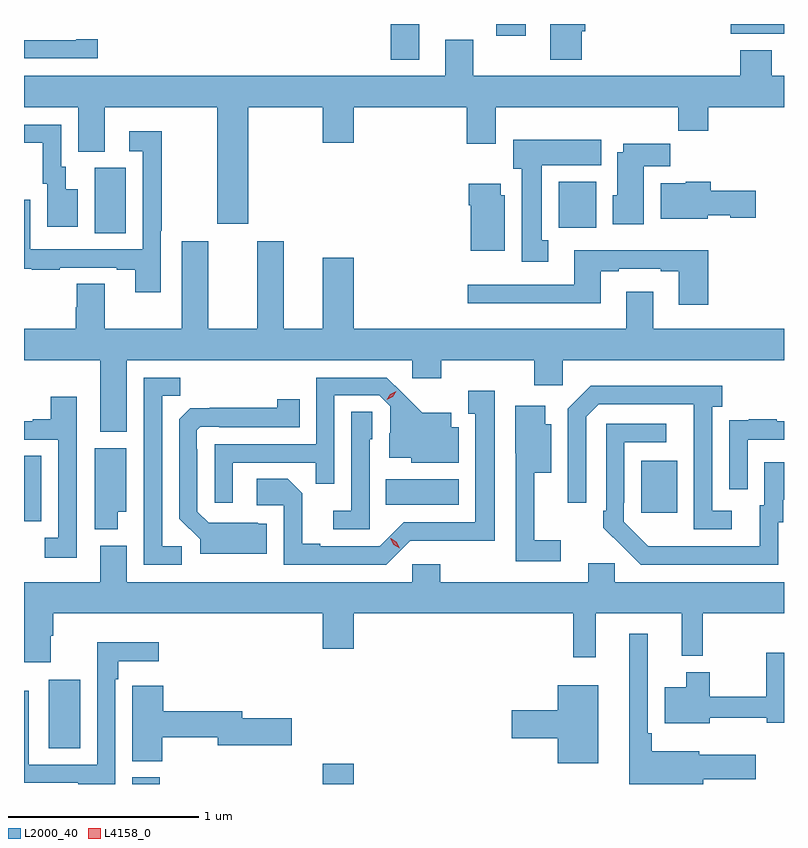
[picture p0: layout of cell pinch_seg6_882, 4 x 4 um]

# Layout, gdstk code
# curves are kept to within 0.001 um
import gdstk
lib = gdstk.Library(unit=1e-6, precision=1e-09)
def R(c, l, rs):  # rectangles x0, y0, x1, y1
    for r in rs: c.add(gdstk.rectangle(r[:2], r[2:], *l))
def P(c, l, *ps):  # polygons
    for p in ps: c.add(gdstk.Polygon(p, *l))
L2000_40 = (2000, 40)
L4158_0 = (4158, 0)

pinch_seg6_882 = lib.new_cell('pinch_seg6_882')
R(pinch_seg6_882, L2000_40, [(331.838,922.461,331.982,922.497), (332.84,922.461,333.004,922.567), (331.397,922.648,331.564,923.011), (331.268,923.845,331.36,924.188), (334.517,923.889,334.705,924.163), (333.172,923.93,333.556,924.064), (331.64,925.36,331.804,925.704), (334.082,925.388,334.279,925.63), (333.197,926.274,333.349,926.461), (333.754,926.4,333.91,926.461), (334.987,926.409,335.268,926.461)])
P(pinch_seg6_882, L2000_40, [(334.204,926.424),(334.222,926.424),(334.222,926.461),(334.037,926.461),(334.037,926.274),(334.204,926.274)],
  [(331.657,926.381),(331.544,926.381),(331.544,926.376),(331.268,926.376),(331.268,926.28),(331.657,926.28)],
  [(332.449,926.024),(332.84,926.024),(332.84,925.836),(333.004,925.836),(333.004,926.024),(333.599,926.024),(333.599,925.83),(333.751,925.83),(333.751,926.024),(334.711,926.024),(334.711,925.9),(334.868,925.9),(334.868,926.024),(335.268,926.024),(335.268,926.188),(335.204,926.188),(335.204,926.324),(335.039,926.324),(335.039,926.188),(333.633,926.188),(333.633,926.378),(333.485,926.378),(333.485,926.188),(331.268,926.188),(331.268,926.024),(331.553,926.024),(331.553,925.789),(331.693,925.789),(331.693,926.024),(332.285,926.024),(332.285,925.41),(332.449,925.41)],
  [(331.552,925.591),(331.489,925.591),(331.489,925.71),(331.464,925.71),(331.464,925.932),(331.268,925.932),(331.268,925.836),(331.367,925.836),(331.367,925.62),(331.391,925.62),(331.391,925.395),(331.552,925.395)],
  [(331.989,925.372),(331.994,925.372),(331.994,925.897),(331.821,925.897),(331.821,925.791),(331.893,925.791),(331.893,925.275),(331.302,925.275),(331.302,925.537),(331.268,925.537),(331.268,925.173),(331.309,925.173),(331.309,925.167),(331.457,925.167),(331.457,925.179),(331.757,925.179),(331.757,925.167),(331.853,925.167),(331.853,925.05),(331.989,925.05)],
  [(334.027,925.322),(333.994,925.322),(333.994,925.718),(334.306,925.718),(334.306,925.852),(333.842,925.852),(333.842,925.698),(333.887,925.698),(333.887,925.209),(334.027,925.209)],
  [(334.531,925.712),(334.67,925.712),(334.67,925.831),(334.421,925.831),(334.421,925.786),(334.391,925.786),(334.391,925.56),(334.367,925.56),(334.367,925.406),(334.531,925.406)],
  [(334.866,925.454),(334.986,925.454),(334.986,925.442),(335.119,925.442),(335.119,925.584),(334.883,925.584),(334.883,925.63),(334.752,925.63),(334.752,925.624),(334.619,925.624),(334.619,925.436),(334.866,925.436)],
  [(333.799,925.56),(333.778,925.56),(333.778,925.621),(333.608,925.621),(333.608,925.508),(333.62,925.508),(333.62,925.268),(333.799,925.268)],
  [(331.81,924.692),(333.312,924.692),(333.312,924.597),(333.464,924.597),(333.464,924.692),(333.953,924.692),(333.953,924.561),(334.104,924.561),(334.104,924.692),(335.268,924.692),(335.268,924.856),(334.579,924.856),(334.579,925.051),(334.439,925.051),(334.439,924.856),(333.004,924.856),(333.004,925.231),(332.84,925.231),(332.84,924.856),(332.635,924.856),(332.635,925.318),(332.495,925.318),(332.495,924.856),(332.239,924.856),(332.239,925.318),(332.099,925.318),(332.099,924.856),(331.693,924.856),(331.693,925.094),(331.546,925.094),(331.546,924.969),(331.541,924.969),(331.541,924.856),(331.268,924.856),(331.268,924.692),(331.67,924.692),(331.67,924.314),(331.81,924.314)],
  [(334.868,925.27),(334.163,925.27),(334.163,925.089),(333.603,925.089),(333.603,924.992),(334.303,924.992),(334.303,925.161),(334.399,925.161),(334.399,925.173),(334.619,925.173),(334.619,925.161),(334.715,925.161),(334.715,924.984),(334.868,924.984)],
  [(332.367,924.153),(332.803,924.153),(332.803,924.04),(332.901,924.04),(332.901,924.507),(333.138,924.507),(333.195,924.45),(333.195,924.308),(333.191,924.308),(333.191,924.179),(333.306,924.179),(333.306,924.152),(333.556,924.152),(333.556,924.339),(333.517,924.339),(333.517,924.415),(333.365,924.415),(333.178,924.6),(332.805,924.6),(332.805,924.249),(332.271,924.249),(332.271,923.94),(332.367,923.94)],
  [(332.098,923.712),(331.995,923.712),(331.995,924.505),(332.091,924.505),(332.091,924.6),(331.899,924.6),(331.899,923.616),(332.098,923.616)],
  [(334.993,923.898),(334.89,923.898),(334.89,924.446),(334.942,924.446),(334.942,924.556),(334.252,924.556),(334.131,924.435),(334.131,923.94),(334.227,923.94),(334.227,924.393),(334.293,924.459),(334.793,924.459),(334.794,923.802),(334.993,923.802)],
  [(333.3,923.742),(333.745,923.741),(333.745,924.532),(333.605,924.532),(333.605,924.411),(333.644,924.411),(333.644,923.838),(333.267,923.838),(333.141,923.712),(332.827,923.712),(332.827,923.725),(332.733,923.725),(332.733,923.992),(332.657,924.068),(332.493,924.068),(332.493,923.928),(332.634,923.928),(332.634,923.616),(333.174,923.616)],
  [(331.545,924.499),(331.409,924.499),(331.409,924.382),(331.313,924.382),(331.313,924.369),(331.268,924.369),(331.268,924.273),(331.449,924.273),(331.449,923.757),(331.377,923.757),(331.377,923.652),(331.545,923.652)],
  [(332.545,923.83),(332.504,923.83),(332.498,923.836),(332.241,923.835),(332.181,923.895),(332.181,924.224),(332.178,924.224),(332.178,924.324),(332.196,924.342),(332.296,924.342),(332.296,924.339),(332.72,924.339),(332.72,924.487),(332.602,924.487),(332.602,924.44),(332.144,924.439),(332.085,924.38),(332.085,923.858),(332.195,923.748),(332.195,923.672),(332.545,923.672)],
  [(334.093,923.743),(333.953,923.743),(333.953,924.098),(334.042,924.098),(334.042,924.355),(334.012,924.355),(334.012,924.451),(333.854,924.451),(333.854,924.202),(333.855,924.202),(333.855,923.634),(334.093,923.634)],
  [(333.087,924.276),(333.102,924.276),(333.102,924.419),(332.991,924.419),(332.991,923.899),(332.895,923.899),(332.895,923.802),(333.087,923.802)],
  [(335.076,924.273),(335.268,924.273),(335.268,924.369),(335.231,924.369),(335.231,924.382),(335.083,924.382),(335.083,924.375),(334.981,924.375),(334.981,924.266),(334.98,924.266),(334.98,924.012),(335.076,924.012)],
  [(335.238,923.838),(335.263,923.838),(335.263,923.957),(335.268,923.957),(335.268,924.154),(335.165,924.154),(335.165,923.928),(335.141,923.928),(335.141,923.712),(334.554,923.713),(334.425,923.841),(334.425,923.941),(334.428,923.941),(334.428,924.261),(334.648,924.261),(334.648,924.357),(334.332,924.357),(334.332,923.899),(334.317,923.899),(334.317,923.811),(334.514,923.616),(335.238,923.616)],
  [(331.762,923.894),(331.807,923.894),(331.807,924.229),(331.64,924.229),(331.64,923.801),(331.762,923.801)],
  [(331.268,923.103),(331.408,923.103),(331.408,923.24),(331.421,923.24),(331.421,923.36),(332.84,923.36),(332.84,923.172),(333.004,923.172),(333.004,923.36),(334.159,923.36),(334.159,923.127),(334.277,923.127),(334.277,923.36),(334.73,923.36),(334.73,923.135),(334.84,923.135),(334.84,923.36),(335.268,923.36),(335.268,923.524),(334.377,923.524),(334.377,923.622),(334.238,923.622),(334.238,923.524),(333.459,923.524),(333.459,923.617),(333.312,923.617),(333.312,923.524),(331.81,923.524),(331.81,923.716),(331.67,923.716),(331.67,923.524),(331.268,923.524)],
  [(334.844,922.486),(335.119,922.486),(335.119,922.615),(334.821,922.615),(334.821,922.633),(334.571,922.633),(334.571,922.729),(334.551,922.729),(334.551,923.251),(334.454,923.251),(334.454,922.461),(334.844,922.461)],
  [(331.749,923.012),(331.765,923.012),(331.765,923.108),(331.978,923.108),(331.978,923.206),(331.653,923.206),(331.653,922.563),(331.293,922.563),(331.293,922.951),(331.268,922.951),(331.268,922.467),(331.553,922.467),(331.553,922.461),(331.749,922.461)],
  [(334.876,922.811),(335.178,922.811),(335.178,922.784),(335.268,922.784),(335.268,923.152),(335.174,923.152),(335.174,922.921),(334.876,922.921),(334.876,923.05),(334.754,923.05),(334.754,922.969),(334.64,922.969),(334.64,922.781),(334.876,922.781)],
  [(334.291,922.981),(334.076,922.981),(334.076,922.85),(333.834,922.85),(333.834,922.703),(334.076,922.703),(334.076,922.571),(334.291,922.571)],
  [(331.995,922.708),(332.288,922.708),(332.288,922.666),(332.677,922.666),(332.677,922.808),(332.416,922.808),(332.416,922.844),(332,922.844),(332,922.978),(331.839,922.978),(331.839,922.865),(331.838,922.865),(331.838,922.582),(331.995,922.582)])
P(pinch_seg6_882, L4158_0, [(333.178,924.483),(333.178,924.483),(333.196,924.513),(333.226,924.528),(333.227,924.528),(333.227,924.528),(333.209,924.498),(333.178,924.483)],
  [(333.246,923.702),(333.214,923.721),(333.196,923.754),(333.196,923.754),(333.197,923.754),(333.228,923.735),(333.246,923.702),(333.246,923.702)])

lib.write_gds('pinch_seg6_882.gds')
